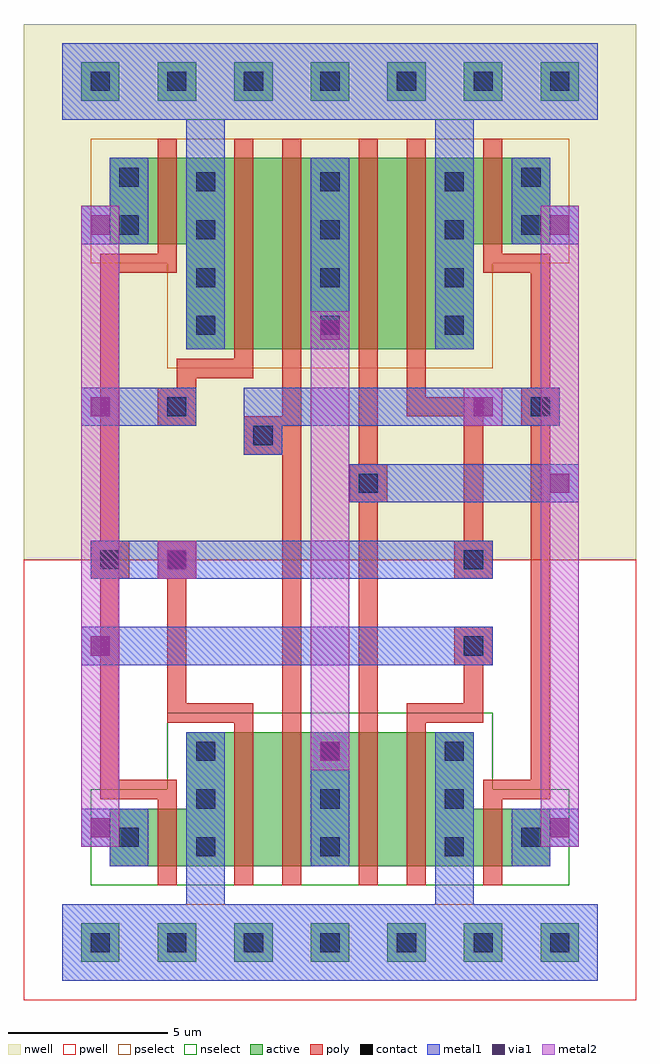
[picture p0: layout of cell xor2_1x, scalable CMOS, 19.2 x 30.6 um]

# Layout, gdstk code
import gdstk
lib = gdstk.Library(unit=1e-6, precision=1e-09)
def R(c, l, rs):  # rectangles x0, y0, x1, y1
    for r in rs: c.add(gdstk.rectangle(r[:2], r[2:], *l))
def A(c, l, x, y, w, h, nx, ny, dx, dy):  # array of equal rectangles
    R(c, l, [(x+i*dx, y+j*dy, x+i*dx+w, y+j*dy+h) for i in range(nx) for j in range(ny)])
contact = (25, 0)
pwell = (41, 0)
nwell = (42, 0)
active = (43, 0)
pselect = (44, 0)
nselect = (45, 0)
poly = (46, 0)
metal1 = (49, 0)
via1 = (50, 0)
metal2 = (51, 0)

xor2_1x = lib.new_cell('xor2_1x')
A(xor2_1x, contact, 0.3, -0.3, 0.6, 0.6, 7, 2, 2.4, 27)
A(xor2_1x, contact, 3.6, 2.7, 0.6, 0.6, 3, 3, 3.9, 1.5)
A(xor2_1x, contact, 3.6, 19.05, 0.6, 0.6, 3, 4, 3.9, 1.5)
R(xor2_1x, contact, [(1.2,3,1.8,3.6), (13.8,3,14.4,3.6), (12,9,12.6,9.6), (0.6,11.7,1.2,12.3), (2.7,11.7,3.3,12.3), (12,11.7,12.6,12.3), (8.7,14.1,9.3,14.7), (5.4,15.6,6,16.2), (2.7,16.5,3.3,17.1), (14.1,16.5,14.7,17.1), (1.2,22.2,1.8,22.8), (13.8,22.2,14.4,22.8), (1.2,23.7,1.8,24.3), (13.8,23.7,14.4,24.3)])
A(xor2_1x, pwell, -0.9, -1.5, 3, 3, 7, 1, 2.4, 0)
A(xor2_1x, pwell, 1.5, 0.6, 4.8, 7.8, 3, 1, 3.9, 0)
R(xor2_1x, pwell, [(-1.8,-1.8,17.4,12), (-0.9,0.6,3.9,6), (-0.3,0.6,5.7,6), (2.1,0.6,8.1,8.4), (3.6,0.6,9.6,8.4), (6,0.6,12,8.4), (7.5,0.6,13.5,8.4), (9.9,0.6,15.9,6), (11.7,0.6,16.5,6), (1.575,0.75,6.15,5.25), (-0.75,1.05,3.825,5.55), (11.775,1.05,16.275,5.55), (9.45,1.5,14.025,6), (1.65,2.25,6.225,6.75), (3.225,2.25,8.475,6.75), (5.475,2.25,10.05,6.75), (5.55,2.25,10.125,6.75), (7.125,2.25,12.375,6.75), (9.375,2.25,13.95,6.75)])
A(xor2_1x, nwell, 1.5, 16.8, 4.8, 9.6, 3, 1, 3.9, 0)
A(xor2_1x, nwell, -0.9, 25.5, 3, 3, 7, 1, 2.4, 0)
R(xor2_1x, nwell, [(-1.8,12,17.4,28.8), (2.1,16.8,8.1,26.4), (3.6,16.8,9.6,26.4), (6,16.8,12,26.4), (7.5,16.8,13.5,26.4), (1.65,19.35,6.225,23.85), (3.225,19.35,8.475,23.85), (5.475,19.35,10.05,23.85), (5.55,19.35,10.125,23.85), (7.125,19.35,12.375,23.85), (9.375,19.35,13.95,23.85), (-0.9,20.1,3.9,26.4), (-0.3,20.1,5.7,26.4), (9.9,20.1,15.9,26.4), (11.7,20.1,16.5,26.4), (1.575,20.85,6.15,25.35), (9.45,20.85,14.025,25.35), (11.775,21,16.35,25.5), (-0.75,21.3,3.825,25.8)])
A(xor2_1x, active, 0, -0.6, 1.2, 1.2, 7, 2, 2.4, 27)
A(xor2_1x, active, 3.3, 2.4, 1.2, 4.2, 3, 1, 3.9, 0)
A(xor2_1x, active, 3.3, 18.6, 1.2, 6, 3, 1, 3.9, 0)
R(xor2_1x, active, [(0.9,2.4,2.1,4.2), (1.5,2.4,3.9,4.2), (3.9,2.4,6.3,6.6), (5.4,2.4,7.8,6.6), (7.8,2.4,10.2,6.6), (9.3,2.4,11.7,6.6), (11.7,2.4,14.1,4.2), (13.5,2.4,14.7,4.2), (3.375,2.55,4.35,3.45), (1.05,2.85,2.025,3.75), (13.575,2.85,14.475,3.75), (11.25,3.3,12.225,4.2), (3.45,4.05,4.425,4.95), (5.025,4.05,6.675,4.95), (7.275,4.05,8.25,4.95), (7.35,4.05,8.325,4.95), (8.925,4.05,10.575,4.95), (11.175,4.05,12.15,4.95), (3.9,18.6,6.3,24.6), (5.4,18.6,7.8,24.6), (7.8,18.6,10.2,24.6), (9.3,18.6,11.7,24.6), (3.45,21.15,4.425,22.05), (5.025,21.15,6.675,22.05), (7.275,21.15,8.25,22.05), (7.35,21.15,8.325,22.05), (8.925,21.15,10.575,22.05), (11.175,21.15,12.15,22.05), (0.9,21.9,2.1,24.6), (1.5,21.9,3.9,24.6), (11.7,21.9,14.1,24.6), (13.5,21.9,14.7,24.6), (3.375,22.65,4.35,23.55), (11.25,22.65,12.225,23.55), (13.575,22.8,14.55,23.7), (1.05,23.1,2.025,24)])
A(xor2_1x, pselect, -0.6, -1.2, 2.4, 2.4, 7, 1, 2.4, 0)
A(xor2_1x, pselect, 2.7, 18, 2.4, 7.2, 3, 1, 3.9, 0)
R(xor2_1x, pselect, [(3.3,18,6.9,25.2), (4.8,18,8.4,25.2), (7.2,18,10.8,25.2), (8.7,18,12.3,25.2), (2.85,20.55,5.025,22.65), (4.425,20.55,7.275,22.65), (6.675,20.55,8.85,22.65), (6.75,20.55,8.925,22.65), (8.325,20.55,11.175,22.65), (10.575,20.55,12.75,22.65), (0.3,21.3,2.7,25.2), (0.9,21.3,4.5,25.2), (11.1,21.3,14.7,25.2), (12.9,21.3,15.3,25.2), (2.775,22.05,4.95,24.15), (10.65,22.05,12.825,24.15), (12.975,22.2,15.15,24.3), (0.45,22.5,2.625,24.6)])
A(xor2_1x, nselect, 2.7, 1.8, 2.4, 5.4, 3, 1, 3.9, 0)
A(xor2_1x, nselect, -0.6, 25.8, 2.4, 2.4, 7, 1, 2.4, 0)
R(xor2_1x, nselect, [(0.3,1.8,2.7,4.8), (0.9,1.8,4.5,4.8), (3.3,1.8,6.9,7.2), (4.8,1.8,8.4,7.2), (7.2,1.8,10.8,7.2), (8.7,1.8,12.3,7.2), (11.1,1.8,14.7,4.8), (12.9,1.8,15.3,4.8), (2.775,1.95,4.95,4.05), (0.45,2.25,2.625,4.35), (12.975,2.25,15.075,4.35), (10.65,2.7,12.825,4.8), (2.85,3.45,5.025,5.55), (4.425,3.45,7.275,5.55), (6.675,3.45,8.85,5.55), (6.75,3.45,8.925,5.55), (8.325,3.45,11.175,5.55), (10.575,3.45,12.75,5.55)])
R(xor2_1x, poly, [(2.4,1.8,3,4.8), (4.8,1.8,5.4,7.2), (6.3,1.8,6.9,7.2), (8.7,1.8,9.3,7.2), (10.2,1.8,10.8,7.2), (12.6,1.8,13.2,4.8), (0.6,4.5,3,5.1), (0.6,4.5,1.2,12.3), (12.6,4.5,14.7,5.1), (14.1,4.5,14.7,17.1), (2.7,6.9,3.3,12.3), (2.7,6.9,5.4,7.5), (6.3,6.9,6.9,16.2), (8.7,6.9,9.3,14.7), (10.2,6.9,12.6,7.5), (12,6.9,12.6,9.6), (11.7,8.7,12.9,9.9), (0.3,11.4,1.5,12.6), (2.4,11.4,3.6,12.6), (11.7,11.4,12.9,12.6), (0.6,11.7,1.2,21.6), (0.6,11.7,1.2,12.3), (12,11.7,12.6,17.1), (12,11.7,12.6,12.3), (8.4,13.8,9.6,15), (8.7,14.1,9.3,14.7), (8.7,14.1,9.3,18.3), (5.1,15.3,6.3,16.5), (5.4,15.6,6.9,16.2), (6.3,15.6,6.9,18.3), (2.4,16.2,3.6,17.4), (13.8,16.2,15,17.4), (2.7,16.5,3.6,17.1), (3,16.5,3.6,18.3), (10.2,16.5,12.6,17.1), (10.2,16.5,10.8,18.3), (14.1,16.5,14.7,17.1), (14.1,16.5,14.7,21.6), (3,17.7,5.4,18.3), (4.8,18,5.4,25.2), (6.3,18,6.9,25.2), (8.7,18,9.3,25.2), (10.2,18,10.8,25.2), (0.6,21,3,21.6), (12.6,21,14.7,21.6), (2.4,21.3,3,25.2), (12.6,21.3,13.2,25.2)])
A(xor2_1x, metal1, 0, -0.6, 1.2, 1.2, 5, 1, 2.4, 0)
A(xor2_1x, metal1, 9.6, -0.6, 1.2, 1.2, 3, 2, 2.4, 27)
A(xor2_1x, metal1, 3.3, 2.4, 1.2, 4.2, 3, 1, 3.9, 0)
A(xor2_1x, metal1, 3.3, 18.6, 1.2, 6, 3, 1, 3.9, 0)
A(xor2_1x, metal1, 0, 26.4, 1.2, 1.2, 3, 1, 2.4, 0)
R(xor2_1x, metal1, [(-0.6,-1.2,1.8,1.2), (-0.6,-1.2,4.2,1.2), (1.8,-1.2,5.1,1.2), (2.7,-1.2,6.6,1.2), (4.2,-1.2,9,1.2), (6.6,-1.2,11.4,1.2), (9,-1.2,12.9,1.2), (10.5,-1.2,13.8,1.2), (11.4,-1.2,16.2,1.2), (13.8,-1.2,16.2,1.2), (3.3,-0.6,4.5,3.6), (11.1,-0.6,12.3,3.6), (14.4,-0.6,15.6,0.6), (0.9,2.4,2.1,4.2), (13.5,2.4,14.7,4.2), (0,3,1.2,4.2), (0,3,2.1,4.2), (13.5,3,15.6,4.2), (14.4,3,15.6,4.2), (7.2,5.4,8.4,6.6), (7.2,5.4,8.4,6.6), (0,8.7,1.2,9.9), (0,8.7,12.9,9.9), (11.7,8.7,12.9,9.9), (0.3,11.4,1.5,12.6), (0.45,11.4,3.6,12.6), (2.4,11.4,3.6,12.6), (2.4,11.4,3.6,12.6), (2.4,11.4,3.6,12.6), (2.4,11.4,12.9,12.6), (11.7,11.4,12.9,12.6), (8.4,13.8,9.6,15), (8.4,13.8,15.6,15), (14.4,13.8,15.6,15), (5.1,15.3,6.3,16.5), (5.1,15.3,6.3,17.4), (0,16.2,1.2,17.4), (0,16.2,3.6,17.4), (2.4,16.2,3.6,17.4), (5.1,16.2,12.9,17.4), (11.7,16.2,15,17.4), (12,16.2,13.2,17.4), (13.8,16.2,15,17.4), (7.2,18.6,8.4,19.8), (7.2,18.6,8.4,19.8), (0,21.9,1.2,23.1), (0,21.9,2.1,23.1), (0.9,21.9,2.1,24.6), (13.5,21.9,14.7,24.6), (13.5,21.9,15.6,23.1), (14.4,21.9,15.6,23.1), (3.3,23.4,4.5,27.6), (11.1,23.4,12.3,27.6), (-0.6,25.8,1.8,28.2), (-0.6,25.8,5.1,28.2), (2.7,25.8,6.6,28.2), (4.2,25.8,9,28.2), (6.6,25.8,11.4,28.2), (9,25.8,12.9,28.2), (10.5,25.8,15.9,28.2), (13.5,25.8,16.2,28.2), (2.4,26.4,6,27.6), (4.8,26.4,6,27.6), (7.2,26.4,8.4,27.6), (7.2,26.4,8.4,27.6), (9.6,26.4,10.8,27.6), (12,26.4,15.3,27.6), (14.4,26.4,15.6,27.6)])
R(xor2_1x, via1, [(0.3,3.3,0.9,3.9), (14.7,3.3,15.3,3.9), (7.5,5.7,8.1,6.3), (0.3,9,0.9,9.6), (2.7,11.7,3.3,12.3), (14.7,14.1,15.3,14.7), (0.3,16.5,0.9,17.1), (12.3,16.5,12.9,17.1), (7.5,18.9,8.1,19.5), (0.3,22.2,0.9,22.8), (14.7,22.2,15.3,22.8)])
R(xor2_1x, metal2, [(0,3,1.2,4.2), (0,3,1.2,10.2), (14.4,3,15.6,4.2), (14.4,3,15.6,15), (7.2,5.4,8.4,6.6), (7.2,5.4,8.4,19.8), (0,8.7,1.2,9.9), (0,9,1.2,17.7), (2.4,11.4,3.6,12.6), (14.4,13.8,15.6,15), (14.4,13.8,15.6,23.1), (0,16.2,1.2,17.4), (12,16.2,13.2,17.4), (0,16.5,1.2,23.1), (7.2,18.6,8.4,19.8), (0,21.9,1.2,23.1), (14.4,21.9,15.6,23.1)])

lib.write_gds('xor2_1x.gds')
